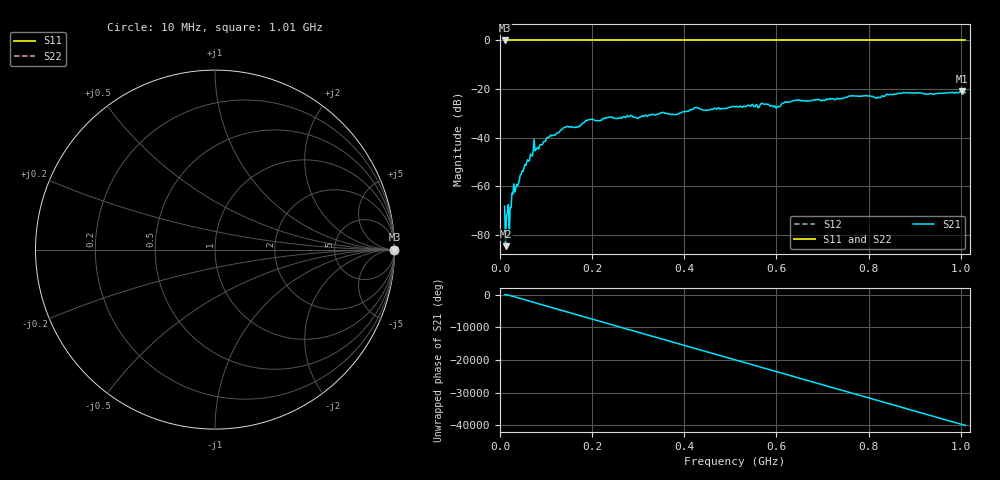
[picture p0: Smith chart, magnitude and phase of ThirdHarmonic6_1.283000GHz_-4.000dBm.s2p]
! 8/16/2025 1:58:17 PM
! C:\ANRITSUVNA\TEMP\TEMP.S2P
! CHANNEL.1
! TR.MEASUREMENT
! RAW.DATA
! RF.CORRECTION.OFF
! AVERAGING.OFF
! IF.BANDWIDTH: 5KHZ
! SWEEPTYPE:  FREQ.SWEEP(Linear)
! Reference Plane Port Info
! PORT:  PORT1  PORT2
! DISTANCE:  0  m  0  m
! TIME:  0  s  0  s
! PHASE.OFFSET:  0  deg.  0  deg.
! LOSS:  0  dB  0  dB
! REF.LOSS:  0  dB  0  dB
! REF.FREQ:  0  Hz  0  Hz
! Power Info
! POWER:  -20  dBm  -20  dBm
! EFF.POWER:  -20  dBm  -20  dBm
! SOURCE.ATTEN:  0  dB  0  dB
! TEST.ATTEN:  0  dB  0  dB
# GHZ S RI R 50.0
! FREQ.GHZ  S11RE  S11IM  S21RE  S21IM  S12RE  S12IM  S22RE  S22IM
!; PortSelection: Port_12
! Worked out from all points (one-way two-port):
!   501 points, 10 MHz to 1.01 GHz, reference 50 ohm
!   highest |S21| = -21.02 dB at 1.002 GHz (marker M1); lowest = -84.7 dB at 12 MHz (marker M2)
!   lowest |S11| = 0.0 dB at 10 MHz (marker M3)
!   |S11| at or under -10 dB: nowhere
!   |S22| runs from 0.0 to 0.0 dB; largest |S21 - S12| = 1.1
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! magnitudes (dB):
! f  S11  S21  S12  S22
! 10 MHz  0.0  -68.2  0.0  0.0
! 12 MHz  0.0  -84.7  0.0  0.0
! 14 MHz  0.0  -72.2  0.0  0.0
! 16 MHz  0.0  -71.1  0.0  0.0
! 24 MHz  0.0  -68.8  0.0  0.0
! 26 MHz  0.0  -62.9  0.0  0.0
! 30 MHz  0.0  -59.1  0.0  0.0
! 70 MHz  0.0  -47.6  0.0  0.0
! 142 MHz  0.0  -35.8  0.0  0.0
! 178 MHz  0.0  -34.3  0.0  0.0
! 194 MHz  0.0  -32.6  0.0  0.0
! 344 MHz  0.0  -30.4  0.0  0.0
! 382 MHz  0.0  -30.6  0.0  0.0
! 426 MHz  0.0  -27.5  0.0  0.0
! 510 MHz  0.0  -27.3  0.0  0.0
! 570 MHz  0.0  -26.0  0.0  0.0
! 602 MHz  0.0  -27.2  0.0  0.0
! 620 MHz  0.0  -25.5  0.0  0.0
! 678 MHz  0.0  -24.7  0.0  0.0
! 844 MHz  0.0  -22.3  0.0  0.0
! 1.002 GHz  0.0  -21.0  0.0  0.0
! 1.01 GHz  0.0  -21.5  0.0  0.0
